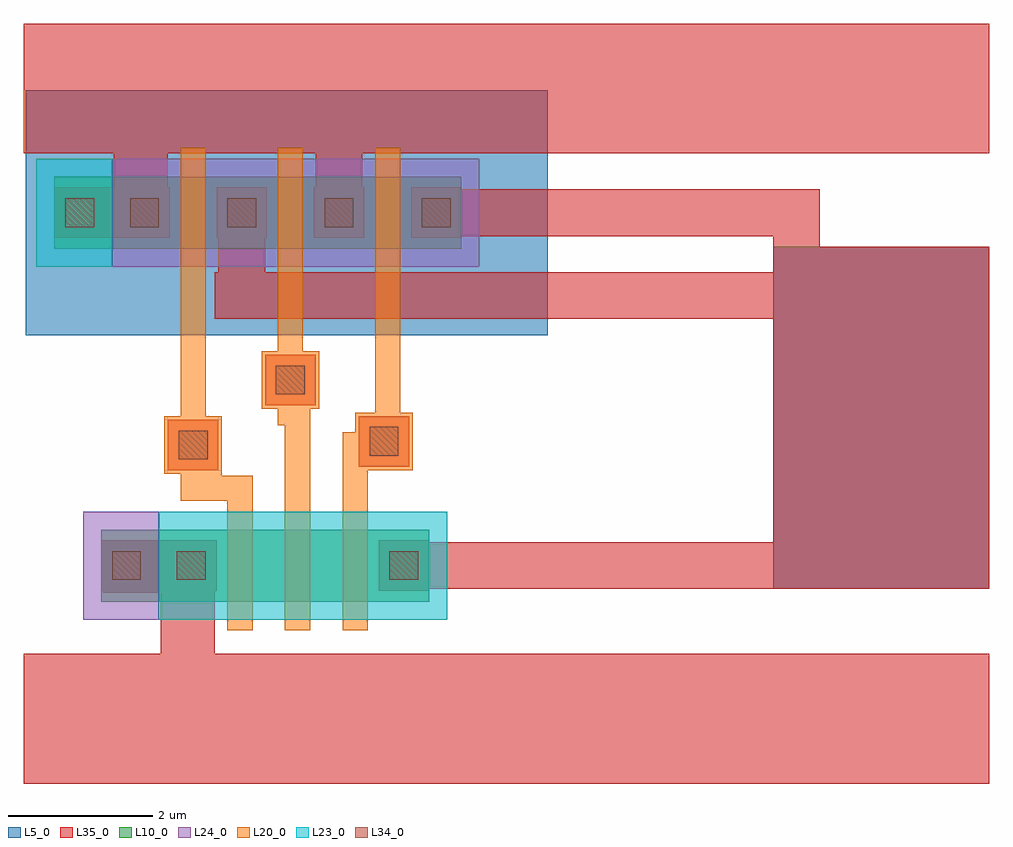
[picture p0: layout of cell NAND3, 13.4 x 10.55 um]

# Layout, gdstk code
from math import pi, radians
import gdstk
lib = gdstk.Library(unit=1e-6, precision=1e-09)
def R(c, l, rs):  # rectangles x0, y0, x1, y1
    for r in rs: c.add(gdstk.rectangle(r[:2], r[2:], *l))
L5_0 = (5, 0)
L10_0 = (10, 0)
L20_0 = (20, 0)
L23_0 = (23, 0)
L24_0 = (24, 0)
L34_0 = (34, 0)
L35_0 = (35, 0)

nmos4_cdns_708611461440 = lib.new_cell('nmos4_CDNS_708611461440')
R(nmos4_cdns_708611461440, L10_0, [(0,-0.2,1,0), (0,0.35,1,0.9), (0,1.15,1,1.65)])
R(nmos4_cdns_708611461440, L23_0, [(-0.25,-0.1,1.25,1.9)])
R(nmos4_cdns_708611461440, L24_0, [(-0.25,-1.15,1.25,-0.1)])
R(nmos4_cdns_708611461440, L34_0, [(0.3,-0.75,0.7,-0.35), (0.3,0.15,0.7,0.55)])
R(nmos4_cdns_708611461440, L35_0, [(0.15,-0.2,0.85,0)])
nmos4_cdns_708611461440.add(gdstk.FlexPath([(1,1.025),(1.4,1.025)], 0.35, ends="flush", simple_path=True, layer=20, datatype=0))  # L20_0
nmos4_cdns_708611461440.add(gdstk.FlexPath([(-0.4,1.025),(0,1.025)], 0.35, ends="flush", simple_path=True, layer=20, datatype=0))  # L20_0
nmos4_cdns_708611461440.add(gdstk.FlexPath([(0,1.025),(1,1.025)], 0.35, ends="flush", simple_path=True, layer=20, datatype=0))  # L20_0
nmos4_cdns_708611461440.add(gdstk.FlexPath([(0,-0.55),(1,-0.55)], 0.7, ends="flush", simple_path=True, layer=10, datatype=0))  # L10_0
nmos4_cdns_708611461440.add(gdstk.FlexPath([(0,0.35),(1,0.35)], 0.7, ends="flush", simple_path=True, layer=10, datatype=0))  # L10_0
nmos4_cdns_708611461440.add(gdstk.FlexPath([(0,1.025),(1,1.025)], 0.35, ends="flush", simple_path=True, layer=10, datatype=0))  # L10_0
nmos4_cdns_708611461440.add(gdstk.FlexPath([(0.15,-0.55),(0.85,-0.55)], 0.7, ends="flush", simple_path=True, layer=35, datatype=0))  # L35_0
nmos4_cdns_708611461440.add(gdstk.FlexPath([(0.15,0.35),(0.85,0.35)], 0.7, ends="flush", simple_path=True, layer=35, datatype=0))  # L35_0
nmos4_cdns_708611461440.add(gdstk.Label('B', (0.5,-0.55), layer=61, texttype=0))
nmos4_cdns_708611461440.add(gdstk.Label('S', (0.5,0.35), layer=61, texttype=0))

nmos4_cdns_708611461441 = lib.new_cell('nmos4_CDNS_708611461441')
R(nmos4_cdns_708611461441, L10_0, [(0,0.85,1,0.9), (0,1.15,1,1.65)])
R(nmos4_cdns_708611461441, L23_0, [(-0.25,0.6,1.25,1.9)])
nmos4_cdns_708611461441.add(gdstk.FlexPath([(1,1.025),(1.4,1.025)], 0.35, ends="flush", simple_path=True, layer=20, datatype=0))  # L20_0
nmos4_cdns_708611461441.add(gdstk.FlexPath([(-0.4,1.025),(0,1.025)], 0.35, ends="flush", simple_path=True, layer=20, datatype=0))  # L20_0
nmos4_cdns_708611461441.add(gdstk.FlexPath([(0,1.025),(1,1.025)], 0.35, ends="flush", simple_path=True, layer=20, datatype=0))  # L20_0
nmos4_cdns_708611461441.add(gdstk.FlexPath([(0,1.025),(1,1.025)], 0.35, ends="flush", simple_path=True, layer=10, datatype=0))  # L10_0

pmos4_cdns_708611461442 = lib.new_cell('pmos4_CDNS_708611461442')
R(pmos4_cdns_708611461442, L5_0, [(-1.2,-0.35,2.2,3.25), (-1.2,-0.35,2.2,3.25)])
R(pmos4_cdns_708611461442, L10_0, [(0,0.85,1,0.9), (0,1.15,1,1.7)])
R(pmos4_cdns_708611461442, L24_0, [(-0.25,0.6,1.25,2.3)])
R(pmos4_cdns_708611461442, L34_0, [(0.3,1.5,0.7,1.9)])
pmos4_cdns_708611461442.add(gdstk.FlexPath([(1,1.025),(1.4,1.025)], 0.35, ends="flush", simple_path=True, layer=20, datatype=0))  # L20_0
pmos4_cdns_708611461442.add(gdstk.FlexPath([(-0.4,1.025),(0,1.025)], 0.35, ends="flush", simple_path=True, layer=20, datatype=0))  # L20_0
pmos4_cdns_708611461442.add(gdstk.FlexPath([(0,1.025),(1,1.025)], 0.35, ends="flush", simple_path=True, layer=20, datatype=0))  # L20_0
pmos4_cdns_708611461442.add(gdstk.FlexPath([(0,1.7),(1,1.7)], 0.7, ends="flush", simple_path=True, layer=10, datatype=0))  # L10_0
pmos4_cdns_708611461442.add(gdstk.FlexPath([(0,1.025),(1,1.025)], 0.35, ends="flush", simple_path=True, layer=10, datatype=0))  # L10_0
pmos4_cdns_708611461442.add(gdstk.FlexPath([(0.15,1.7),(0.85,1.7)], 0.7, ends="flush", simple_path=True, layer=35, datatype=0))  # L35_0
pmos4_cdns_708611461442.add(gdstk.Label('D', (0.5,1.7), layer=61, texttype=0))

pmos4_cdns_708611461443 = lib.new_cell('pmos4_CDNS_708611461443')
R(pmos4_cdns_708611461443, L5_0, [(-1.2,-1.3,2.2,3.25), (-1.2,-1.3,2.2,3.25)])
R(pmos4_cdns_708611461443, L10_0, [(0,-0.2,1,0), (0,0.35,1,0.9), (0,1.15,1,2.2)])
R(pmos4_cdns_708611461443, L23_0, [(-0.25,-1.15,1.25,-0.1)])
R(pmos4_cdns_708611461443, L24_0, [(-0.25,-0.1,1.25,2.3)])
R(pmos4_cdns_708611461443, L34_0, [(0.3,-0.75,0.7,-0.35), (0.3,0.15,0.7,0.55), (0.3,1.5,0.7,1.9)])
R(pmos4_cdns_708611461443, L35_0, [(0.15,-0.2,0.85,0)])
pmos4_cdns_708611461443.add(gdstk.FlexPath([(1,1.025),(1.4,1.025)], 0.35, ends="flush", simple_path=True, layer=20, datatype=0))  # L20_0
pmos4_cdns_708611461443.add(gdstk.FlexPath([(-0.4,1.025),(0,1.025)], 0.35, ends="flush", simple_path=True, layer=20, datatype=0))  # L20_0
pmos4_cdns_708611461443.add(gdstk.FlexPath([(0,1.025),(1,1.025)], 0.35, ends="flush", simple_path=True, layer=20, datatype=0))  # L20_0
pmos4_cdns_708611461443.add(gdstk.FlexPath([(0,-0.55),(1,-0.55)], 0.7, ends="flush", simple_path=True, layer=10, datatype=0))  # L10_0
pmos4_cdns_708611461443.add(gdstk.FlexPath([(0,1.7),(1,1.7)], 0.7, ends="flush", simple_path=True, layer=10, datatype=0))  # L10_0
pmos4_cdns_708611461443.add(gdstk.FlexPath([(0,0.35),(1,0.35)], 0.7, ends="flush", simple_path=True, layer=10, datatype=0))  # L10_0
pmos4_cdns_708611461443.add(gdstk.FlexPath([(0,1.025),(1,1.025)], 0.35, ends="flush", simple_path=True, layer=10, datatype=0))  # L10_0
pmos4_cdns_708611461443.add(gdstk.FlexPath([(0.15,-0.55),(0.85,-0.55)], 0.7, ends="flush", simple_path=True, layer=35, datatype=0))  # L35_0
pmos4_cdns_708611461443.add(gdstk.FlexPath([(0.15,1.7),(0.85,1.7)], 0.7, ends="flush", simple_path=True, layer=35, datatype=0))  # L35_0
pmos4_cdns_708611461443.add(gdstk.FlexPath([(0.15,0.35),(0.85,0.35)], 0.7, ends="flush", simple_path=True, layer=35, datatype=0))  # L35_0
pmos4_cdns_708611461443.add(gdstk.Label('B', (0.5,-0.55), layer=61, texttype=0))
pmos4_cdns_708611461443.add(gdstk.Label('D', (0.5,1.7), layer=61, texttype=0))
pmos4_cdns_708611461443.add(gdstk.Label('S', (0.5,0.35), layer=61, texttype=0))

pmos4_cdns_708611461444 = lib.new_cell('pmos4_CDNS_708611461444')
R(pmos4_cdns_708611461444, L5_0, [(-1.2,-1.2,2.2,2.4), (-1.2,-1.2,2.2,2.4)])
R(pmos4_cdns_708611461444, L10_0, [(0,-0.15,1,0.9), (0,1.15,1,1.2)])
R(pmos4_cdns_708611461444, L24_0, [(-0.25,-0.25,1.25,1.45)])
R(pmos4_cdns_708611461444, L34_0, [(0.3,0.15,0.7,0.55)])
pmos4_cdns_708611461444.add(gdstk.FlexPath([(1,1.025),(1.4,1.025)], 0.35, ends="flush", simple_path=True, layer=20, datatype=0))  # L20_0
pmos4_cdns_708611461444.add(gdstk.FlexPath([(-0.4,1.025),(0,1.025)], 0.35, ends="flush", simple_path=True, layer=20, datatype=0))  # L20_0
pmos4_cdns_708611461444.add(gdstk.FlexPath([(0,1.025),(1,1.025)], 0.35, ends="flush", simple_path=True, layer=20, datatype=0))  # L20_0
pmos4_cdns_708611461444.add(gdstk.FlexPath([(0,0.35),(1,0.35)], 0.7, ends="flush", simple_path=True, layer=10, datatype=0))  # L10_0
pmos4_cdns_708611461444.add(gdstk.FlexPath([(0,1.025),(1,1.025)], 0.35, ends="flush", simple_path=True, layer=10, datatype=0))  # L10_0
pmos4_cdns_708611461444.add(gdstk.FlexPath([(0.15,0.35),(0.85,0.35)], 0.7, ends="flush", simple_path=True, layer=35, datatype=0))  # L35_0
pmos4_cdns_708611461444.add(gdstk.Label('S', (0.5,0.35), layer=61, texttype=0))

nmos4_cdns_708611461445 = lib.new_cell('nmos4_CDNS_708611461445')
R(nmos4_cdns_708611461445, L10_0, [(0,0.85,1,0.9), (0,1.15,1,1.7)])
R(nmos4_cdns_708611461445, L23_0, [(-0.25,0.6,1.25,2.3)])
R(nmos4_cdns_708611461445, L34_0, [(0.3,1.5,0.7,1.9)])
nmos4_cdns_708611461445.add(gdstk.FlexPath([(1,1.025),(1.4,1.025)], 0.35, ends="flush", simple_path=True, layer=20, datatype=0))  # L20_0
nmos4_cdns_708611461445.add(gdstk.FlexPath([(-0.4,1.025),(0,1.025)], 0.35, ends="flush", simple_path=True, layer=20, datatype=0))  # L20_0
nmos4_cdns_708611461445.add(gdstk.FlexPath([(0,1.025),(1,1.025)], 0.35, ends="flush", simple_path=True, layer=20, datatype=0))  # L20_0
nmos4_cdns_708611461445.add(gdstk.FlexPath([(0,1.7),(1,1.7)], 0.7, ends="flush", simple_path=True, layer=10, datatype=0))  # L10_0
nmos4_cdns_708611461445.add(gdstk.FlexPath([(0,1.025),(1,1.025)], 0.35, ends="flush", simple_path=True, layer=10, datatype=0))  # L10_0
nmos4_cdns_708611461445.add(gdstk.FlexPath([(0.15,1.7),(0.85,1.7)], 0.7, ends="flush", simple_path=True, layer=35, datatype=0))  # L35_0
nmos4_cdns_708611461445.add(gdstk.Label('D', (0.5,1.7), layer=61, texttype=0))

p1_c_cdns_708611461440 = lib.new_cell('P1_C_CDNS_708611461440')
R(p1_c_cdns_708611461440, L20_0, [(-0.4,-0.4,0.4,0.4)])
R(p1_c_cdns_708611461440, L34_0, [(-0.2,-0.2,0.2,0.2)])
R(p1_c_cdns_708611461440, L35_0, [(-0.35,-0.35,0.35,0.35)])

nand3 = lib.new_cell('NAND3')
R(nand3, L5_0, [(10.4,2.7,13.4,7.45)])
R(nand3, L20_0, [(2.5,4.1,2.75,4.3)])
R(nand3, L35_0, [(0,0,13.4,1.8), (1.9,1.4,2.65,3.35), (1.1,2.65,2.65,3.35), (4.95,2.7,10.65,3.35), (10.4,2.7,13.4,7.45), (2.65,6.45,10.55,7.1), (2.7,6.45,3.35,8.25), (10.4,6.9,11.05,8.25), (0.45,7.6,1.95,8.25), (1.25,7.6,2,9.25), (4.05,7.6,4.7,9.3), (5.4,7.6,10.4,8.25), (0,8.75,13.4,10.55)])
nand3.add(gdstk.FlexPath([(3,4.1),(3,3.925)], 0.35, ends=(0.175, 0), simple_path=True, layer=20, datatype=0))  # L20_0
nand3.add(gdstk.FlexPath([(3.7,5.95),(3.7,7.025)], 0.35, ends="flush", simple_path=True, layer=20, datatype=0))  # L20_0
nand3.add(gdstk.FlexPath([(4.6,4.7),(4.6,3.925)], 0.35, ends=(0.175, 0), simple_path=True, layer=20, datatype=0))  # L20_0
nand3.add(gdstk.FlexPath([(5.05,4.7),(4.6,4.7)], 0.35, ends="extended", simple_path=True, layer=20, datatype=0))  # L20_0
nand3.add(gdstk.FlexPath([(5.05,7.025),(5.05,4.7)], 0.35, ends=(0, 0.175), simple_path=True, layer=20, datatype=0))  # L20_0
nand3.add(gdstk.FlexPath([(3.8,5.15),(3.7,5.15)], 0.35, ends="extended", simple_path=True, layer=20, datatype=0))  # L20_0
nand3.add(gdstk.FlexPath([(3.8,3.925),(3.8,5.15)], 0.35, ends=(0, 0.175), simple_path=True, layer=20, datatype=0))  # L20_0
nand3.add(gdstk.FlexPath([(3.7,5.15),(3.7,5.95)], 0.35, ends=(0.175, 0), simple_path=True, layer=20, datatype=0))  # L20_0
nand3.add(gdstk.FlexPath([(2.35,4.1),(3,4.1)], 0.35, ends="extended", simple_path=True, layer=20, datatype=0))  # L20_0
nand3.add(gdstk.FlexPath([(2.35,4.7),(2.35,4.1)], 0.35, ends=(0, 0.175), simple_path=True, layer=20, datatype=0))  # L20_0
nand3.add(gdstk.FlexPath([(2.35,7.025),(2.35,4.7)], 0.35, ends="flush", simple_path=True, layer=20, datatype=0))  # L20_0
nand3.add(gdstk.Reference(nmos4_cdns_708611461440, (1.975,2.525), rotation=pi/2, x_reflection=True))
nand3.add(gdstk.Reference(nmos4_cdns_708611461441, (2.775,2.525), rotation=pi/2, x_reflection=True))
nand3.add(gdstk.Reference(pmos4_cdns_708611461442, (4.025,8.425), rotation=3*pi/2))
nand3.add(gdstk.Reference(pmos4_cdns_708611461443, (1.325,8.425), rotation=3*pi/2))
nand3.add(gdstk.Reference(pmos4_cdns_708611461444, (4.725,8.425), rotation=3*pi/2, x_reflection=True))
nand3.add(gdstk.Reference(nmos4_cdns_708611461445, (3.575,3.525), rotation=3*pi/2))
nand3.add(gdstk.Reference(p1_c_cdns_708611461440, (5,4.75)))
nand3.add(gdstk.Reference(p1_c_cdns_708611461440, (3.7,5.6)))
nand3.add(gdstk.Reference(p1_c_cdns_708611461440, (2.35,4.7)))

lib.write_gds('NAND3.gds')
